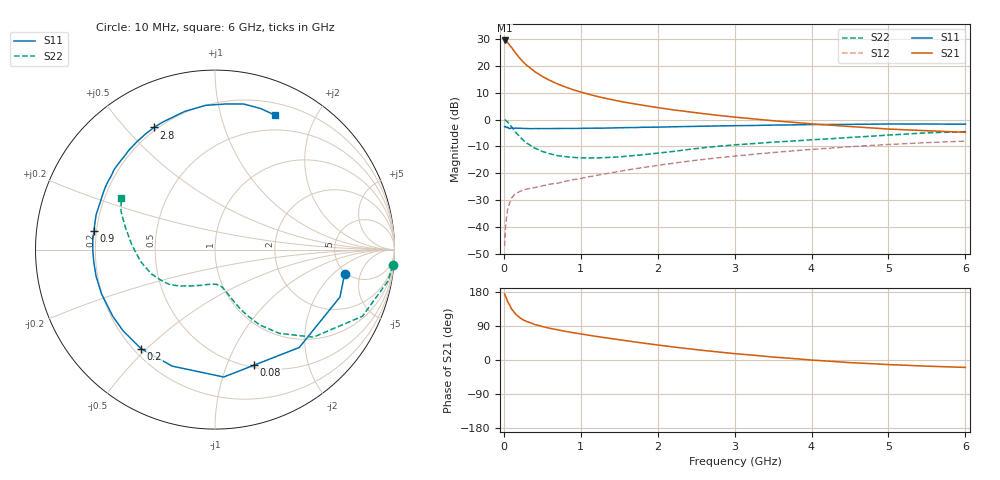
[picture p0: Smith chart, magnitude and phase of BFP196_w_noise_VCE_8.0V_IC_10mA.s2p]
! (c) 2017  Infineon Technologies AG, Munich
! Infineon Technologies  Discrete & RF Semiconductors
! BFP196
! VCE =  8.0 V,  IC =  10 mA
! Common Emitter S-Parameters:  Jan 2017
# GHz  S  MA  R  50
!  f  S11  S21  S12  S22
! GHz  MAG  ANG  MAG  ANG  MAG  ANG  MAG  ANG
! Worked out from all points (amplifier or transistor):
!   77 points, 10 MHz to 6 GHz, reference 50 ohm
!   highest |S21| = 29.4 dB at 10 MHz (marker M1)
!   |S21| within 3 dB of that: start of sweep to 110.5 MHz
!   unconditionally stable (mu >= 1): 988.7 MHz to 2.33 GHz
!   at 130 MHz: K = 0.23, MSG = 26.9 dB, |S12| = -28.2 dB
!   at 2.2 GHz: K = 1.02, MAG = 9.1 dB, |S12| = -16.3 dB
!   at 6 GHz: K = 0.91, MSG = 1.6 dB, |S12| = -8.0 dB
!   lowest NFmin = 0.99 dB at 450 MHz
!   S11 on the Smith chart (normalised r, x): 10 MHz: 4.84, -2.82; 80 MHz: 0.52, -1.25; 200 MHz: 0.23, -0.48; 900 MHz: 0.19, +0.07; 2.8 GHz: 0.19, +0.60; 6 GHz: 0.33, +1.49
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0.01  0.7347 -10.5  29.61 174.4  0.0044 84.6  0.9956 -5.1
0.02  0.7447 -20.8  29.53 169.1  0.0092 80.4  0.9784 -10.4
0.05  0.7196 -49.3  27.06 153.8  0.0214 67.9  0.9017 -24.3
0.08  0.6797 -71.4  23.68 143.2  0.0291 57.8  0.7923 -33.8
0.1  0.7116 -86.1  21.99 134.5  0.0346 53.6  0.7344 -41.6
0.15  0.6916 -110.2  17.45 121.6  0.0418 44.3  0.5894 -52.4
0.2  0.6888 -126.7  14.21 112.8  0.0452 39.9  0.4884 -59.3
0.25  0.6835 -138.4  11.86 106.0  0.0488 37.7  0.4151 -63.5
0.3  0.68 -146.9  10.13 101.3  0.0509 36.6  0.362 -66.8
0.4  0.6788 -158.8  7.822 93.8  0.0541 37.5  0.2946 -70.9
0.5  0.679 -167.4  6.328 88.3  0.0583 38.7  0.2548 -74.0
0.6  0.679 -174.2  5.332 83.6  0.0628 40.2  0.2296 -76.8
0.7  0.6808 -179.4  4.585 79.6  0.0653 42.5  0.213 -79.1
0.9  0.6823 171.4  3.586 72.1  0.0759 45.9  0.1981 -84.9
1.1  0.6901 163.9  2.963 65.6  0.0857 48.3  0.193 -91.0
1.5  0.7024 150.8  2.195 53.5  0.1083 51.1  0.202 -104.7
2.1  0.7272 133.2  1.59 37.1  0.1467 50.6  0.2457 -124.7
2.8  0.7607 116.5  1.19 20.9  0.195 46.2  0.3196 -142.8
3.1  0.7704 110.1  1.075 15.1  0.2153 43.4  0.345 -150.3
4.1  0.8058 92.1  0.814 -1.4  0.2845 33.1  0.4273 -173.7
5.1  0.8256 77.5  0.656 -12.9  0.3486 21.0  0.5238 164.3
6  0.8204 65.9  0.578 -19.6  0.397 10.0  0.5956 151.2
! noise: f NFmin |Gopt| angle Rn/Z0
0.45  0.99  0.35  147  0.06
0.9  1.29  0.5  174  0.05
1.9  2.4  0.7  -139  0.25
2.4  2.9  0.73  -123  0.68
